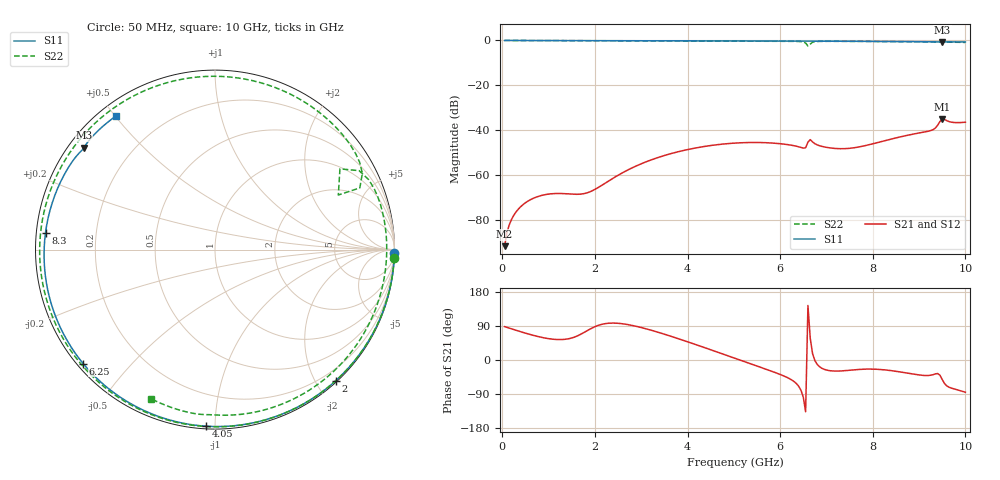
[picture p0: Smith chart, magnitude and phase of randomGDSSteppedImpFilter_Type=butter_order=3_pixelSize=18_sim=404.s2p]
! freq	dB(S11)	phase(S11)	dB(S12)	phase(S12)
!  dB(S21)	phase(S21)	dB(S22)	phase(S22)
!S-par simulation data
#  GHz  S  DB  R 50
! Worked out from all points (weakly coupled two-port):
!   200 points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, 50 MHz to 10 GHz, reference 50 ohm
!   highest |S21| = -35.01 dB at 9.5 GHz (marker M1); lowest = -91.4 dB at 50 MHz (marker M2)
!   lowest |S11| = -0.7 dB at 9.5 GHz (marker M3), VSWR 25.60, Z = 2.18 + j17.1 ohm
!   |S11| at or under -10 dB: nowhere
!   |S22| runs from -2.5 to 0.0 dB; largest |S21 - S12| = 0
!   S11 on the Smith chart (normalised r, x): 50 MHz: 1, -94; 2 GHz: 0.02, -2.28; 4.05 GHz: 0.01, -0.95; 6.25 GHz: 0.02, -0.37; 8.3 GHz: 0.03, +0.05; 10 GHz: 0.05, +0.50
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0.05  -0.00 -1.2  -91.42 88.0  -91.42 88.0  -0.00 -2.8
0.2  -0.01 -4.9  -79.50 82.1  -79.50 82.1  -0.02 -11.2
0.4  -0.01 -9.7  -73.82 74.5  -73.82 74.5  -0.03 -22.3
0.75  -0.02 -18.1  -69.49 62.5  -69.49 62.5  -0.05 -41.5
1.25  -0.04 -29.9  -68.01 53.9  -68.01 53.9  -0.09 -68.2
1.75  -0.05 -41.7  -68.12 71.6  -68.12 71.6  -0.11 -93.9
2  -0.06 -47.4  -66.19 87.9  -66.19 87.9  -0.13 -106.3
2.75  -0.08 -64.4  -57.15 92.6  -57.15 92.6  -0.16 -142.5
3.4  -0.10 -78.8  -51.77 71.9  -51.77 71.9  -0.19 -173.3
4.05  -0.13 -92.8  -48.28 46.0  -48.28 46.0  -0.23 155.7
5.05  -0.18 -114.0  -45.57 3.4  -45.57 3.4  -0.29 106.0
5.65  -0.21 -126.5  -45.41 -22.4  -45.41 -22.4  -0.32 75.0
6.25  -0.26 -139.2  -46.58 -52.7  -46.58 -52.7  -0.38 43.1
6.5  -0.28 -144.5  -47.85 -98.4  -47.85 -98.4  -0.68 27.4
6.6  -0.29 -146.7  -45.19 143.8  -45.19 143.8  -2.48 23.9
6.7  -0.29 -148.8  -45.12 16.7  -45.12 16.7  -0.77 28.7
7.35  -0.35 -163.2  -48.11 -28.6  -48.11 -28.6  -0.39 -7.3
8.3  -0.45 174.3  -44.34 -26.6  -44.34 -26.6  -0.48 -48.3
8.35  -0.46 173.1  -44.07 -27.3  -44.07 -27.3  -0.49 -50.3
9.25  -0.59 149.0  -40.06 -40.2  -40.06 -40.2  -0.67 -84.7
9.5  -0.68 142.1  -35.01 -51.6  -35.01 -51.6  -0.71 -93.8
10  -0.66 126.7  -36.34 -85.0  -36.34 -85.0  -0.88 -113.3
